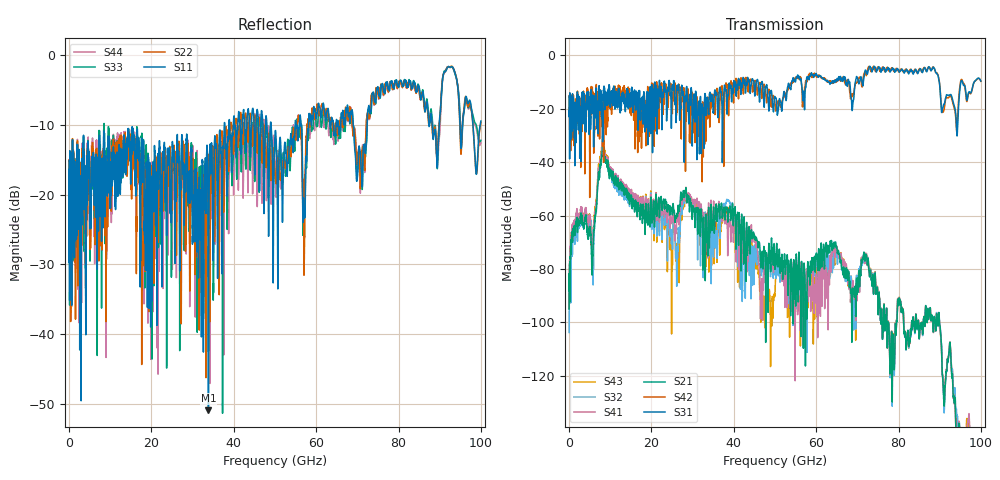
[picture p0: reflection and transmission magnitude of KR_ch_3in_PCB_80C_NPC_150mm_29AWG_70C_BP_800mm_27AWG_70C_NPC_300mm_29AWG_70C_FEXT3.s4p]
# GHz S RI R 45
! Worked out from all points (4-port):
!   4000 points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, 25 MHz to 100 GHz, reference 45 ohm
!   strongest paths, dB at 25 MHz, 25.02 GHz, 50.02 GHz, 75.03 GHz, 100 GHz:
!     S31: -20.7, -12.5, -15.6, -4.9, -9.6
!     S42: -20.7, -17.7, -18.0, -4.4, -9.7
!     S21: -95.0, -58.5, -77.7, -95.4, -159.8
!     S41: -94.5, -61.7, -77.4, -95.3, -154.9
!     S32: -103.7, -68.9, -78.5, -95.1, -162.0
!     S43: -95.0, -75.7, -88.6, -94.9, -169.2
!   lowest |S11| = -50.9 dB at 33.85 GHz (marker M1), VSWR 1.01, Z = 45.2 + j0.102 ohm
!   |S11| at or under -10 dB: start of sweep to 37.71 GHz; 49.07 GHz to 54.91 GHz (5.84 GHz wide, 11.2 % of centre); 68.98 GHz to 72.37 GHz (3.391 GHz wide, 4.8 % of centre) (the widest 3 of 26)
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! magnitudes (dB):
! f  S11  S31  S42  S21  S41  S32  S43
! 25 MHz  -16.4  -20.7  -20.7  -95.0  -94.5  -103.7  -95.0
! 5.775 GHz  -14.6  -16.4  -16.4  -75.1  -68.7  -77.7  -68.2
! 8.225 GHz  -21.4  -31.4  -21.3  -34.4  -32.8  -33.0  -31.7
! 26.3 GHz  -11.4  -11.3  -18.6  -60.1  -62.1  -72.7  -74.9
! 28.62 GHz  -12.7  -12.6  -14.3  -54.2  -54.1  -54.3  -54.5
! 33.85 GHz  -50.9  -21.8  -23.4  -58.1  -55.8  -64.0  -58.4
! 100 GHz  -9.5  -9.6  -9.7  -159.8  -154.9  -162.0  -169.2
